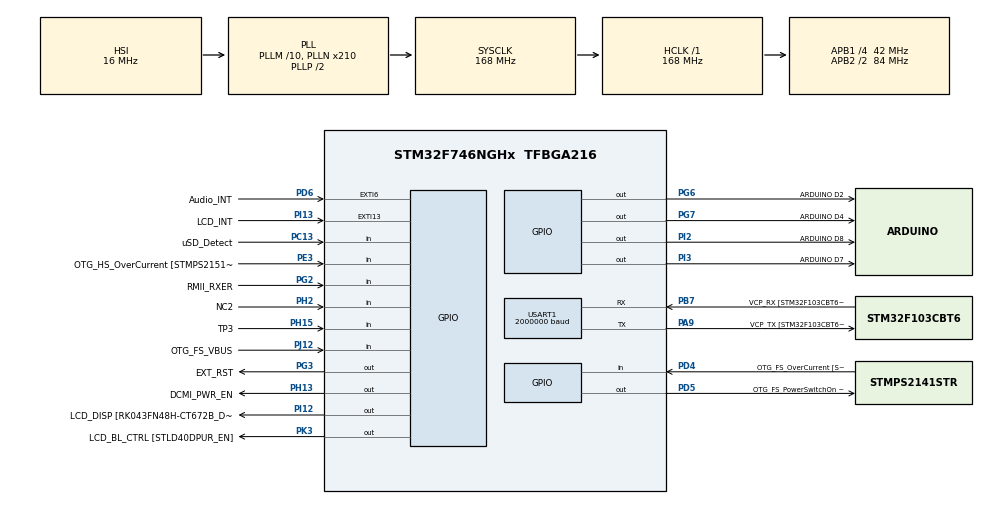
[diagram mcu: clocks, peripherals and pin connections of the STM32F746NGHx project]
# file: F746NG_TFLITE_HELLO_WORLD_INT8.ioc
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CORTEX_M7.CPU_DCache=Enabled
CORTEX_M7.CPU_ICache=Enabled
Mcu.Family=STM32F7
Mcu.Name=STM32F746NGHx
Mcu.Package=TFBGA216
NVIC.PriorityGroup=NVIC_PRIORITYGROUP_4
PA0/WKUP.GPIO_Label=ARDUINO A0
PA0/WKUP.GPIO_Mode=GPIO_MODE_ANALOG
PA0/WKUP.GPIO_PuPd=GPIO_NOPULL
PA0/WKUP.Signal=ADCx_IN0
PA1.GPIO_Label=RMII_REF_CLK [LAN8742A-CZ-TR_REFCLK0]
PA1.Signal=ETH_REF_CLK
PA10.GPIO_Label=OTG_FS_ID
PA10.Signal=USB_OTG_FS_ID
PA11.GPIO_Label=OTG_FS_N
PA11.Signal=USB_OTG_FS_DM
PA12.GPIO_Label=OTG_FS_P
PA12.Signal=USB_OTG_FS_DP
PA13.GPIO_Label=SWDIO
PA13.Signal=SYS_JTMS-SWDIO
PA14.GPIO_Label=SWCLK
PA14.Signal=SYS_JTCK-SWCLK
PA15.GPIO_Label=ARDUINO PWM/D9
PA15.GPIO_ModeDefaultPP=GPIO_MODE_AF_PP
PA15.GPIO_PuPd=GPIO_NOPULL
PA15.GPIO_Speed=GPIO_SPEED_FREQ_LOW
PA15.Signal=S_TIM2_CH1_ETR
PA2.GPIO_Label=RMII_MDIO [LAN8742A-CZ-TR_MDIO]
PA2.Signal=ETH_MDIO
PA3.GPIO_Label=ULPI_D0 [USB3320C-EZK_D0]
PA3.Signal=USB_OTG_HS_ULPI_D0
PA4.GPIO_Label=DCMI_HSYNC
PA4.Signal=DCMI_HSYNC
PA5.GPIO_Label=ULPI_CLK [USB3320C-EZK_CLKOUT]
PA5.Signal=USB_OTG_HS_ULPI_CK
PA6.Signal=DCMI_PIXCLK
PA7.GPIO_Label=RMII_CRS_DV [LAN8742A-CZ-TR_CRS_DV]
PA7.Signal=ETH_CRS_DV
PA8.GPIO_Label=ARDUINO PWM/D10
PA8.GPIO_ModeDefaultPP=GPIO_MODE_AF_PP
PA8.GPIO_PuPd=GPIO_NOPULL
PA8.GPIO_Speed=GPIO_SPEED_FREQ_LOW
PA8.Signal=S_TIM1_CH1
PA9.GPIO_Label=VCP_TX [STM32F103CBT6_PA3]
PA9.GPIO_Mode=GPIO_MODE_AF_PP
PA9.GPIO_PuPd=GPIO_NOPULL
PA9.GPIO_Speed=GPIO_SPEED_FREQ_LOW
PA9.Mode=Asynchronous
PA9.Signal=USART1_TX
PB0.GPIO_Label=ULPI_D1 [USB3320C-EZK_D1]
PB0.Signal=USB_OTG_HS_ULPI_D1
PB1.GPIO_Label=ULPI_D2 [USB3320C-EZK_D2]
PB1.Signal=USB_OTG_HS_ULPI_D2
PB10.GPIO_Label=ULPI_D3 [USB3320C-EZK_D3]
PB10.Signal=USB_OTG_HS_ULPI_D3
PB11.GPIO_Label=ULPI_D4 [USB3320C-EZK_D4]
PB11.Signal=USB_OTG_HS_ULPI_D4
PB12.GPIO_Label=ULPI_D5 [USB3320C-EZK_D5]
PB12.Signal=USB_OTG_HS_ULPI_D5
PB13.GPIO_Label=ULPI_D6 [USB3320C-EZK_D6]
PB13.Signal=USB_OTG_HS_ULPI_D6
PB14.GPIO_Label=ARDUINO MISO/D12
PB14.GPIO_Mode=GPIO_MODE_AF_PP
PB14.GPIO_PuPd=GPIO_NOPULL
PB14.GPIO_Speed=GPIO_SPEED_FREQ_LOW
PB14.Signal=SPI2_MISO
PB15.GPIO_Label=ARDUINO MOSI/PWM/D11
PB15.GPIO_Mode=GPIO_MODE_AF_PP
PB15.GPIO_PuPd=GPIO_NOPULL
PB15.GPIO_Speed=GPIO_SPEED_FREQ_LOW
PB15.Signal=SPI2_MOSI
PB2.Signal=QUADSPI_CLK
PB3.GPIO_Label=SWO
PB3.Signal=SYS_JTDO-SWO
PB4.GPIO_Label=ARDUINO PWM/D3
PB4.GPIO_ModeDefaultPP=GPIO_MODE_AF_PP
PB4.GPIO_PuPd=GPIO_NOPULL
PB4.GPIO_Speed=GPIO_SPEED_FREQ_LOW
PB4.Signal=S_TIM3_CH1
PB5.GPIO_Label=ULPI_D7 [USB3320C-EZK_D7]
PB5.Signal=USB_OTG_HS_ULPI_D7
PB6.GPIO_Label=QSPI_NCS [N25Q128A13EF840E_S]
PB6.Signal=QUADSPI_BK1_NCS
PB7.GPIO_Label=VCP_RX [STM32F103CBT6_PA2]
PB7.GPIO_Mode=GPIO_MODE_AF_PP
PB7.GPIO_PuPd=GPIO_NOPULL
PB7.GPIO_Speed=GPIO_SPEED_FREQ_LOW
PB7.Mode=Asynchronous
PB7.Signal=USART1_RX
PB8.GPIO_Label=ARDUINO SCL/D15
PB8.GPIO_Mode=GPIO_MODE_AF_OD
PB8.GPIO_PuPd=GPIO_NOPULL
PB8.GPIO_Speed=GPIO_SPEED_FREQ_LOW
PB8.Signal=I2C1_SCL
PB9.GPIO_Label=ARDUINO SDA/D14
PB9.GPIO_Mode=GPIO_MODE_AF_OD
PB9.GPIO_PuPd=GPIO_NOPULL
PB9.GPIO_Speed=GPIO_SPEED_FREQ_LOW
PB9.Signal=I2C1_SDA
PC0.GPIO_Label=ULPI_STP [USB3320C-EZK_STP]
PC0.Signal=USB_OTG_HS_ULPI_STP
PC1.GPIO_Label=RMII_MDC [LAN8742A-CZ-TR_MDC]
PC1.Signal=ETH_MDC
PC10.GPIO_Label=SDMMC_D2
PC10.Signal=SDMMC1_D2
PC11.GPIO_Label=SDMMC_D3
PC11.Signal=SDMMC1_D3
PC12.GPIO_Label=SDMMC_CK
PC12.Signal=SDMMC1_CK
PC13.GPIO_Label=uSD_Detect
PC13.Signal=GPIO_Input
PC14/OSC32_IN.GPIO_Label=RCC_OSC32_IN
PC14/OSC32_IN.Signal=RCC_OSC32_IN
PC15/OSC32_OUT.GPIO_Label=RCC_OSC32_OUT
PC15/OSC32_OUT.Signal=RCC_OSC32_OUT
PC2.GPIO_Label=ULPI_DIR [USB3320C-EZK_DIR]
PC2.Signal=USB_OTG_HS_ULPI_DIR
PC3.GPIO_Label=FMC_SDCKE0 [MT48LC4M32B2B5-6A_CKE]
PC3.Signal=FMC_SDCKE0
PC4.GPIO_Label=RMII_RXD0 [LAN8742A-CZ-TR_RXD0]
PC4.Signal=ETH_RXD0
PC5.GPIO_Label=RMII_RXD1 [LAN8742A-CZ-TR_RXD1]
PC5.Signal=ETH_RXD1
PC6.GPIO_Label=ARDUINO TX/D1
PC6.Signal=USART6_TX
PC7.GPIO_Label=ARDUINO RX/D0
PC7.Signal=USART6_RX
PC8.Signal=SDMMC1_D0
PC9.Signal=SDMMC1_D1
PD0.GPIO_Label=FMC_D2 [MT48LC4M32B2B5-6A_DQ2]
PD0.Signal=FMC_D2_DA2
PD1.GPIO_Label=FMC_D3 [MT48LC4M32B2B5-6A_DQ3]
PD1.Signal=FMC_D3_DA3
PD10.GPIO_Label=FMC_D15 [MT48LC4M32B2B5-6A_DQ15]
PD10.Signal=FMC_D15_DA15
PD11.GPIO_Label=QSPI_D0 [N25Q128A13EF840E_DQ0]
PD11.Signal=QUADSPI_BK1_IO0
PD12.GPIO_Label=QSPI_D1 [N25Q128A13EF840E_DQ1]
PD12.Signal=QUADSPI_BK1_IO1
PD13.GPIO_Label=QSPI_D3 [N25Q128A13EF840E_DQ3]
PD13.Signal=QUADSPI_BK1_IO3
PD14.GPIO_Label=FMC_D0 [MT48LC4M32B2B5-6A_DQ0]
PD14.Signal=FMC_D0_DA0
PD15.GPIO_Label=FMC_D1 [MT48LC4M32B2B5-6A_DQ1]
PD15.Signal=FMC_D1_DA1
PD2.GPIO_Label=SDMMC_D0
PD2.Signal=SDMMC1_CMD
PD3.GPIO_Label=DCMI_D5
PD3.Signal=DCMI_D5
PD4.GPIO_Label=OTG_FS_OverCurrent [STMPS2141STR_Fault]
PD4.Signal=GPIO_Input
PD5.GPIO_Label=OTG_FS_PowerSwitchOn [STMPS2141STR_EN]
PD5.PinState=GPIO_PIN_SET
PD5.Signal=GPIO_Output
PD6.GPIO_Label=Audio_INT
PD6.GPIO_ModeDefaultEXTI=GPIO_MODE_EVT_RISING
PD6.Signal=GPXTI6
PD7.GPIO_Label=SPDIF_RX0 [74LVC1G04SE_4]
PD7.Signal=SPDIFRX_IN0
PD8.GPIO_Label=FMC_D13 [MT48LC4M32B2B5-6A_DQ13]
PD8.Signal=FMC_D13_DA13
PD9.GPIO_Label=FMC_D14 [MT48LC4M32B2B5-6A_DQ14]
PD9.Signal=FMC_D14_DA14
PE0.GPIO_Label=FMC_NBL0 [MT48LC4M32B2B5-6A_DQM0]
PE0.Signal=FMC_NBL0
PE1.GPIO_Label=FMC_NBL1 [MT48LC4M32B2B5-6A_DQM1]
PE1.Signal=FMC_NBL1
PE10.GPIO_Label=FMC_D7 [MT48LC4M32B2B5-6A_DQ7]
PE10.Signal=FMC_D7_DA7
PE11.GPIO_Label=FMC_D8 [MT48LC4M32B2B5-6A_DQ8]
PE11.Signal=FMC_D8_DA8
PE12.GPIO_Label=FMC_D9 [MT48LC4M32B2B5-6A_DQ9]
PE12.Signal=FMC_D9_DA9
PE13.GPIO_Label=FMC_D10 [MT48LC4M32B2B5-6A_DQ10]
PE13.Signal=FMC_D10_DA10
PE14.GPIO_Label=FMC_D11 [MT48LC4M32B2B5-6A_DQ11]
PE14.Signal=FMC_D11_DA11
PE15.GPIO_Label=FMC_D12 [MT48LC4M32B2B5-6A_DQ12]
PE15.Signal=FMC_D12_DA12
PE2.GPIO_Label=QSPI_D2 [N25Q128A13EF840E_DQ2]
PE2.Signal=QUADSPI_BK1_IO2
PE3.GPIO_Label=OTG_HS_OverCurrent [STMPS2151STR_FAULT]
PE3.Signal=GPIO_Input
PE4.GPIO_Label=LCD_B0 [RK043FN48H-CT672B_B0]
PE4.Signal=LTDC_B0
PE5.GPIO_Label=DCMI_D6
PE5.Signal=DCMI_D6
PE6.GPIO_Label=DCMI_D7
PE6.Signal=DCMI_D7
PE7.GPIO_Label=FMC_D4 [MT48LC4M32B2B5-6A_DQ4]
PE7.Signal=FMC_D4_DA4
PE8.GPIO_Label=FMC_D5 [MT48LC4M32B2B5-6A_DQ5]
PE8.Signal=FMC_D5_DA5
PE9.GPIO_Label=FMC_D6 [MT48LC4M32B2B5-6A_DQ6]
PE9.Signal=FMC_D6_DA6
PF0.GPIO_Label=FMC_A0 [MT48LC4M32B2B5-6A_A0]
PF0.Signal=FMC_A0
PF1.GPIO_Label=FMC_A1 [MT48LC4M32B2B5-6A_A1]
PF1.Signal=FMC_A1
PF10.GPIO_Label=ARDUINO A1
PF10.GPIO_Mode=GPIO_MODE_ANALOG
PF10.GPIO_PuPd=GPIO_NOPULL
PF10.Signal=ADC3_IN8
PF11.GPIO_Label=FMC_SDNRAS [MT48LC4M32B2B5-6A_RAS]
PF11.Signal=FMC_SDNRAS
PF12.GPIO_Label=FMC_A6 [MT48LC4M32B2B5-6A_A6]
PF12.Signal=FMC_A6
PF13.GPIO_Label=FMC_A7 [MT48LC4M32B2B5-6A_A7]
PF13.Signal=FMC_A7
PF14.GPIO_Label=FMC_A8 [MT48LC4M32B2B5-6A_A8]
PF14.Signal=FMC_A8
PF15.GPIO_Label=FMC_A9 [MT48LC4M32B2B5-6A_A9]
PF15.Signal=FMC_A9
PF2.GPIO_Label=FMC_A2 [MT48LC4M32B2B5-6A_A2]
PF2.Signal=FMC_A2
PF3.GPIO_Label=FMC_A3 [MT48LC4M32B2B5-6A_A3]
PF3.Signal=FMC_A3
PF4.GPIO_Label=FMC_A4 [MT48LC4M32B2B5-6A_A4]
PF4.Signal=FMC_A4
PF5.GPIO_Label=FMC_A5 [MT48LC4M32B2B5-6A_A5]
PF5.Signal=FMC_A5
PF6.GPIO_Label=ARDUINO A5
PF6.GPIO_Mode=GPIO_MODE_ANALOG
PF6.GPIO_PuPd=GPIO_NOPULL
PF6.Signal=ADC3_IN4
PF7.GPIO_Label=ARDUINO A4
PF7.GPIO_Mode=GPIO_MODE_ANALOG
PF7.GPIO_PuPd=GPIO_NOPULL
PF7.Signal=ADC3_IN5
PF8.GPIO_Label=ARDUINO A3
PF8.GPIO_Mode=GPIO_MODE_ANALOG
PF8.GPIO_PuPd=GPIO_NOPULL
PF8.Signal=ADC3_IN6
PF9.GPIO_Label=ARDUINO A2
PF9.GPIO_Mode=GPIO_MODE_ANALOG
PF9.GPIO_PuPd=GPIO_NOPULL
PF9.Signal=ADC3_IN7
PG0.GPIO_Label=FMC_A10 [MT48LC4M32B2B5-6A_A10]
PG0.Signal=FMC_A10
PG1.GPIO_Label=FMC_A11 [MT48LC4M32B2B5-6A_A11]
PG1.Signal=FMC_A11
PG10.GPIO_Label=SAI2_SDB [WM8994ECS/R_ADCDAT1]
PG10.Signal=SAI2_SD_B
PG11.GPIO_Label=RMII_TX_EN [LAN8742A-CZ-TR_TXEN]
PG11.Signal=ETH_TX_EN
PG12.GPIO_Label=LCD_B4 [RK043FN48H-CT672B_B4]
PG12.Signal=LTDC_B4
PG13.GPIO_Label=RMII_TXD0 [LAN8742A-CZ-TR_TXD0]
PG13.Signal=ETH_TXD0
PG14.GPIO_Label=RMII_TXD1 [LAN8742A-CZ-TR_TXD1]
PG14.Signal=ETH_TXD1
PG15.GPIO_Label=FMC_SDNCAS [MT48LC4M32B2B5-6A_CAS]
PG15.Signal=FMC_SDNCAS
PG2.GPIO_Label=RMII_RXER
PG2.Signal=GPIO_Input
PG3.GPIO_Label=EXT_RST
PG3.Signal=GPIO_Output
PG4.GPIO_Label=FMC_BA0 [MT48LC4M32B2B5-6A_BA0]
PG4.Signal=FMC_A14_BA0
PG5.GPIO_Label=FMC_BA1 [MT48LC4M32B2B5-6A_BA1]
PG5.Signal=FMC_A15_BA1
PG6.GPIO_Label=ARDUINO D2
PG6.Signal=GPIO_Output
PG7.GPIO_Label=ARDUINO D4
PG7.Signal=GPIO_Output
PG8.GPIO_Label=FMC_SDCLK [MT48LC4M32B2B5-6A_CLK]
PG8.Signal=FMC_SDCLK
PG9.GPIO_Label=DCMI_VSYNC
PG9.Signal=DCMI_VSYNC
PH0/OSC_IN.GPIO_Label=OSC_25M [NZ2520SB-25.00M_OUT]
PH0/OSC_IN.Signal=RCC_OSC_IN
PH1/OSC_OUT.Signal=RCC_OSC_OUT
PH10.GPIO_Label=DCMI_D1
PH10.Signal=DCMI_D1
PH11.GPIO_Label=DCMI_D2
PH11.Signal=DCMI_D2
PH12.GPIO_Label=DCMI_D3
PH12.Signal=DCMI_D3
PH13.GPIO_Label=DCMI_PWR_EN
PH13.Signal=GPIO_Output
PH14.GPIO_Label=DCMI_D4
PH14.Signal=DCMI_D4
PH15.GPIO_Label=TP3
PH15.Signal=GPIO_Input
PH2.GPIO_Label=NC2
PH2.Signal=GPIO_Input
PH3.GPIO_Label=FMC_SDNE0 [MT48LC4M32B2B5-6A_CS]
PH3.Signal=FMC_SDNE0
PH4.GPIO_Label=ULPI_NXT [USB3320C-EZK_NXT]
PH4.Signal=USB_OTG_HS_ULPI_NXT
PH5.GPIO_Label=FMC_SDNME [MT48LC4M32B2B5-6A_WE]
PH5.Signal=FMC_SDNWE
PH6.GPIO_Label=ARDUINO PWM/D6
PH6.Signal=S_TIM12_CH1
PH7.GPIO_Label=LCD_SCL [RK043FN48H-CT672B_SCL]
PH7.Signal=I2C3_SCL
PH8.GPIO_Label=LCD_SDA [RK043FN48H-CT672B_SDA]
PH8.Signal=I2C3_SDA
PH9.GPIO_Label=DCMI_D0
PH9.Signal=DCMI_D0
PI0.GPIO_Label=ARDUINO PWM/CS/D5
PI0.GPIO_ModeDefaultPP=GPIO_MODE_AF_PP
PI0.GPIO_PuPd=GPIO_NOPULL
PI0.GPIO_Speed=GPIO_SPEED_FREQ_LOW
PI0.Signal=S_TIM5_CH4
PI1.GPIO_Label=ARDUINO SCK/D13
PI1.GPIO_Mode=GPIO_MODE_AF_PP
PI1.GPIO_PuPd=GPIO_NOPULL
PI1.GPIO_Speed=GPIO_SPEED_FREQ_LOW
PI1.Signal=SPI2_SCK
PI10.GPIO_Label=LCD_HSYNC [RK043FN48H-CT672B_HSYNC]
PI10.Signal=LTDC_HSYNC
PI12.GPIO_Label=LCD_DISP [RK043FN48H-CT672B_DISP] 
PI12.Signal=GPIO_Output
PI13.GPIO_Label=LCD_INT
PI13.GPIO_ModeDefaultEXTI=GPIO_MODE_EVT_RISING
PI13.Signal=GPXTI13
PI14.GPIO_Label=LCD_CLK [RK043FN48H-CT672B_CLK]
PI14.Signal=LTDC_CLK
PI15.GPIO_Label=LCD_R0 [RK043FN48H-CT672B_R0]
PI15.Signal=LTDC_R0
PI2.GPIO_Label=ARDUINO D8
PI2.Signal=GPIO_Output
PI3.GPIO_Label=ARDUINO D7
PI3.Signal=GPIO_Output
PI4.GPIO_Label=SAI2_MCLKA [WM8994ECS/R_MCLK1]
PI4.Signal=SAI2_MCLK_A
PI5.GPIO_Label=SAI2_SCKA [WM8994ECS/R_BCLK1]
PI5.Signal=SAI2_SCK_A
PI6.GPIO_Label=SAI2_SDA [WM8994ECS/R_DACDAT1]
PI6.Signal=SAI2_SD_A
PI7.GPIO_Label=SAI2_FSA [WM8994ECS/R_LRCLK1]
PI7.Signal=SAI2_FS_A
PI8.GPIO_Label=NC1 [TP2]
PI8.Signal=RTC_TS
PI9.GPIO_Label=LCD_VSYNC [RK043FN48H-CT672B_VSYNC]
PI9.Signal=LTDC_VSYNC
PJ0.GPIO_Label=LCD_R1 [RK043FN48H-CT672B_R1]
PJ0.Signal=LTDC_R1
PJ1.GPIO_Label=LCD_R2 [RK043FN48H-CT672B_R2]
PJ1.Signal=LTDC_R2
PJ10.GPIO_Label=LCD_G3 [RK043FN48H-CT672B_G3]
PJ10.Signal=LTDC_G3
PJ11.GPIO_Label=LCD_G4 [RK043FN48H-CT672B_G4]
PJ11.Signal=LTDC_G4
PJ12.GPIO_Label=OTG_FS_VBUS
PJ12.Signal=GPIO_Input
PJ13.GPIO_Label=LCD_B1 [RK043FN48H-CT672B_B1]
PJ13.Signal=LTDC_B1
PJ14.GPIO_Label=LCD_B2 [RK043FN48H-CT672B_B2]
PJ14.Signal=LTDC_B2
PJ15.GPIO_Label=LCD_B3 [RK043FN48H-CT672B_B3]
PJ15.Signal=LTDC_B3
PJ2.GPIO_Label=LCD_R3 [RK043FN48H-CT672B_R3]
PJ2.Signal=LTDC_R3
PJ3.GPIO_Label=LCD_R4 [RK043FN48H-CT672B_R4]
PJ3.Signal=LTDC_R4
PJ4.GPIO_Label=LCD_R5 [RK043FN48H-CT672B_R5]
PJ4.Signal=LTDC_R5
PJ5.GPIO_Label=LCD_R6 [RK043FN48H-CT672B_R6]
PJ5.Signal=LTDC_R6
PJ6.GPIO_Label=LCD_R7 [RK043FN48H-CT672B_R7]
PJ6.Signal=LTDC_R7
PJ7.GPIO_Label=LCD_G0 [RK043FN48H-CT672B_G0]
PJ7.Signal=LTDC_G0
PJ8.GPIO_Label=LCD_G1 [RK043FN48H-CT672B_G1]
PJ8.Signal=LTDC_G1
PJ9.GPIO_Label=LCD_G2 [RK043FN48H-CT672B_G2]
PJ9.Signal=LTDC_G2
PK0.GPIO_Label=LCD_G5 [RK043FN48H-CT672B_G5]
PK0.Signal=LTDC_G5
PK1.GPIO_Label=LCD_G6 [RK043FN48H-CT672B_G6]
PK1.Signal=LTDC_G6
PK2.GPIO_Label=LCD_G7 [RK043FN48H-CT672B_G7]
PK2.Signal=LTDC_G7
PK3.GPIO_Label=LCD_BL_CTRL [STLD40DPUR_EN]
PK3.Signal=GPIO_Output
PK4.GPIO_Label=LCD_B5 [RK043FN48H-CT672B_B5]
PK4.Signal=LTDC_B5
PK5.GPIO_Label=LCD_B6 [RK043FN48H-CT672B_B6]
PK5.Signal=LTDC_B6
PK6.GPIO_Label=LCD_B7 [RK043FN48H-CT672B_B7]
PK6.Signal=LTDC_B7
PK7.GPIO_Label=LCD_DE [RK043FN48H-CT672B_DE]
PK7.Signal=LTDC_DE
ProjectManager.HeapSize=0x200
ProjectManager.StackSize=0x400
ProjectManager.TargetToolchain=STM32CubeIDE
RCC.AHBFreq_Value=168000000
RCC.APB1CLKDivider=RCC_HCLK_DIV4
RCC.APB1Freq_Value=42000000
RCC.APB1TimFreq_Value=84000000
RCC.APB2CLKDivider=RCC_HCLK_DIV2
RCC.APB2Freq_Value=84000000
RCC.APB2TimFreq_Value=168000000
RCC.CortexFreq_Value=168000000
RCC.HCLKFreq_Value=168000000
RCC.HSE_VALUE=25000000
RCC.HSI_VALUE=16000000
RCC.LSE_VALUE=32768
RCC.PLLM=10
RCC.PLLN=210
RCC.PLLQ=7
RCC.PLLSourceVirtual=RCC_PLLSOURCE_HSI
RCC.SYSCLKFreq_VALUE=168000000
RCC.SYSCLKSource=RCC_SYSCLKSOURCE_PLLCLK
RCC.USBFreq_Value=48000000
RCC.VCOOutputFreq_Value=336000000
SH.ADCx_IN0.0=ADC3_IN0
SH.FMC_A0.0=FMC_A0
SH.FMC_A1.0=FMC_A1
SH.FMC_A10.0=FMC_A10
SH.FMC_A11.0=FMC_A11
SH.FMC_A14_BA0.0=FMC_BA0
SH.FMC_A15_BA1.0=FMC_BA1
SH.FMC_A2.0=FMC_A2
SH.FMC_A3.0=FMC_A3
SH.FMC_A4.0=FMC_A4
SH.FMC_A5.0=FMC_A5
SH.FMC_A6.0=FMC_A6
SH.FMC_A7.0=FMC_A7
SH.FMC_A8.0=FMC_A8
SH.FMC_A9.0=FMC_A9
SH.FMC_D0_DA0.0=FMC_D0
SH.FMC_D10_DA10.0=FMC_D10
SH.FMC_D11_DA11.0=FMC_D11
SH.FMC_D12_DA12.0=FMC_D12
SH.FMC_D13_DA13.0=FMC_D13
SH.FMC_D14_DA14.0=FMC_D14
SH.FMC_D15_DA15.0=FMC_D15
SH.FMC_D1_DA1.0=FMC_D1
SH.FMC_D2_DA2.0=FMC_D2
SH.FMC_D3_DA3.0=FMC_D3
SH.FMC_D4_DA4.0=FMC_D4
SH.FMC_D5_DA5.0=FMC_D5
SH.FMC_D6_DA6.0=FMC_D6
SH.FMC_D7_DA7.0=FMC_D7
SH.FMC_D8_DA8.0=FMC_D8
SH.FMC_D9_DA9.0=FMC_D9
SH.FMC_NBL0.0=FMC_NBL0
SH.FMC_NBL1.0=FMC_NBL1
SH.FMC_SDCLK.0=FMC_SDCLK
SH.FMC_SDNCAS.0=FMC_SDNCAS
SH.FMC_SDNRAS.0=FMC_SDNRAS
SH.FMC_SDNWE.0=FMC_SDNWE
SH.S_TIM12_CH1.0=TIM12_CH1
SH.S_TIM1_CH1.0=TIM1_CH1
SH.S_TIM2_CH1_ETR.0=TIM2_CH1
SH.S_TIM3_CH1.0=TIM3_CH1
SH.S_TIM5_CH4.0=TIM5_CH4
USART1.BaudRate=2000000
USART1.VirtualMode-Asynchronous=VM_ASYNC
VP_RNG_VS_RNG.Mode=RNG_Activate
board=STM32F746G-DISCO

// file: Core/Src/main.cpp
/* USER CODE BEGIN Header */
/**
  ******************************************************************************
  * @file           : main.c
  * @brief          : Main program body
  ******************************************************************************
  * @attention
  *
  * Copyright (c) 2023 STMicroelectronics.
  * All rights reserved.
  *
  * This software is licensed under terms that can be found in the LICENSE file
  * in the root directory of this software component.
  * If no LICENSE file comes with this software, it is provided AS-IS.
  *
  ******************************************************************************
  */
/* USER CODE END Header */
#include "main.h"

/* USER CODE BEGIN Includes */
#include "lib_model.h"
#include "lib_rng.h"
#include "lib_serial.h"
#include "models/hello_world_float_model_data.h"
//#include "models/hello_world_int8_model_data.h"

/* USER CODE END Includes */

RNG_HandleTypeDef hrng;

UART_HandleTypeDef huart1;

void SystemClock_Config(void);
static void MX_GPIO_Init(void);
static void MX_USART1_UART_Init(void);
static void MX_RNG_Init(void);

/* USER CODE BEGIN 0 */
#define INPUT_PC		  1
#define INPUT_MCU		  2
#define INPUT			  INPUT_MCU

#define SIZE_INPUT 		1
#define SIZE_OUTPUT 	1

/*
 * Project -> Properties
 * 1) Include Paths
 * 2) Source Folder
 * 3) TFLITE Symbol
 *
 * 1) RNG
 * 2) UART
 * 3) main.cpp
 */

constexpr int kTensorArenaSize = 128 * 1024;
alignas(16) uint8_t tensor_arena[kTensorArenaSize];
TfLiteTensor* input = nullptr;
TfLiteTensor* output = nullptr;

float in, out;
/* USER CODE END 0 */

int main(void)
{

  /* Enable I-Cache---------------------------------------------------------*/
  SCB_EnableICache();

  /* Enable D-Cache---------------------------------------------------------*/
  SCB_EnableDCache();

  /* MCU Configuration--------------------------------------------------------*/

  /* Reset of all peripherals, Initializes the Flash interface and the Systick. */
  HAL_Init();

  /* Configure the system clock */
  SystemClock_Config();

  /* Initialize all configured peripherals */
  MX_GPIO_Init();
  MX_USART1_UART_Init();
  MX_RNG_Init();
  /* USER CODE BEGIN 2 */
  LIB_MODEL_Init(g_hello_world_float_model_data, &input, tensor_arena, kTensorArenaSize);

  /* USER CODE END 2 */

  /* Infinite loop */
  while (1)
  {

    /* USER CODE BEGIN 3 */
#if (INPUT == INPUT_PC)
  LIB_SERIAL_Receive(in, SIZE_INPUT, TYPE_F32);
#elif (INPUT == INPUT_MCU)
  for (uint32_t i = 0; i < SIZE_INPUT; ++i)
    in = ((float)(LIB_RNG_GetRandomNumber() % 1000) / 1000) * 3.1415f;
  LIB_SERIAL_Transmit((void*)&in, SIZE_INPUT, TYPE_F32);

#endif
  input->data.f[0] = in;
  //Run inference
  LIB_MODEL_Run(&output);
  // Get output here
  out = output->data.f[0];
  LIB_SERIAL_Transmit((void*)&out, SIZE_OUTPUT, TYPE_F32);

  HAL_Delay(1000);
  }
  /* USER CODE END 3 */
}

void SystemClock_Config(void)
{
  RCC_OscInitTypeDef RCC_OscInitStruct = {0};
  RCC_ClkInitTypeDef RCC_ClkInitStruct = {0};

  /** Configure the main internal regulator output voltage
  */
  __HAL_RCC_PWR_CLK_ENABLE();
  __HAL_PWR_VOLTAGESCALING_CONFIG(PWR_REGULATOR_VOLTAGE_SCALE2);
  /** Initializes the RCC Oscillators according to the specified parameters
  * in the RCC_OscInitTypeDef structure.
  */
  RCC_OscInitStruct.OscillatorType = RCC_OSCILLATORTYPE_HSI;
  RCC_OscInitStruct.HSIState = RCC_HSI_ON;
  RCC_OscInitStruct.HSICalibrationValue = RCC_HSICALIBRATION_DEFAULT;
  RCC_OscInitStruct.PLL.PLLState = RCC_PLL_ON;
  RCC_OscInitStruct.PLL.PLLSource = RCC_PLLSOURCE_HSI;
  RCC_OscInitStruct.PLL.PLLM = 10;
  RCC_OscInitStruct.PLL.PLLN = 210;
  RCC_OscInitStruct.PLL.PLLP = RCC_PLLP_DIV2;
  RCC_OscInitStruct.PLL.PLLQ = 7;
  if (HAL_RCC_OscConfig(&RCC_OscInitStruct) != HAL_OK)
  {
    Error_Handler();
  }
  /** Initializes the CPU, AHB and APB buses clocks
  */
  RCC_ClkInitStruct.ClockType = RCC_CLOCKTYPE_HCLK|RCC_CLOCKTYPE_SYSCLK
                              |RCC_CLOCKTYPE_PCLK1|RCC_CLOCKTYPE_PCLK2;
  RCC_ClkInitStruct.SYSCLKSource = RCC_SYSCLKSOURCE_PLLCLK;
  RCC_ClkInitStruct.AHBCLKDivider = RCC_SYSCLK_DIV1;
  RCC_ClkInitStruct.APB1CLKDivider = RCC_HCLK_DIV4;
  RCC_ClkInitStruct.APB2CLKDivider = RCC_HCLK_DIV2;

  if (HAL_RCC_ClockConfig(&RCC_ClkInitStruct, FLASH_LATENCY_5) != HAL_OK)
  {
    Error_Handler();
  }
}

static void MX_RNG_Init(void)
{

  hrng.Instance = RNG;
  if (HAL_RNG_Init(&hrng) != HAL_OK)
  {
    Error_Handler();
  }

}

static void MX_USART1_UART_Init(void)
{

  huart1.Instance = USART1;
  huart1.Init.BaudRate = 2000000;
  huart1.Init.WordLength = UART_WORDLENGTH_8B;
  huart1.Init.StopBits = UART_STOPBITS_1;
  huart1.Init.Parity = UART_PARITY_NONE;
  huart1.Init.Mode = UART_MODE_TX_RX;
  huart1.Init.HwFlowCtl = UART_HWCONTROL_NONE;
  huart1.Init.OverSampling = UART_OVERSAMPLING_16;
  huart1.Init.OneBitSampling = UART_ONE_BIT_SAMPLE_DISABLE;
  huart1.AdvancedInit.AdvFeatureInit = UART_ADVFEATURE_NO_INIT;
  if (HAL_UART_Init(&huart1) != HAL_OK)
  {
    Error_Handler();
  }

}

static void MX_GPIO_Init(void)
{
  GPIO_InitTypeDef GPIO_InitStruct = {0};

  /* GPIO Ports Clock Enable */
  __HAL_RCC_GPIOE_CLK_ENABLE();
  __HAL_RCC_GPIOG_CLK_ENABLE();
  __HAL_RCC_GPIOB_CLK_ENABLE();
  __HAL_RCC_GPIOD_CLK_ENABLE();
  __HAL_RCC_GPIOC_CLK_ENABLE();
  __HAL_RCC_GPIOA_CLK_ENABLE();
  __HAL_RCC_GPIOJ_CLK_ENABLE();
  __HAL_RCC_GPIOI_CLK_ENABLE();
  __HAL_RCC_GPIOK_CLK_ENABLE();
  __HAL_RCC_GPIOF_CLK_ENABLE();
  __HAL_RCC_GPIOH_CLK_ENABLE();

  /*Configure GPIO pin Output Level */
  HAL_GPIO_WritePin(OTG_FS_PowerSwitchOn_GPIO_Port, OTG_FS_PowerSwitchOn_Pin, GPIO_PIN_SET);

  /*Configure GPIO pin Output Level */
  HAL_GPIO_WritePin(GPIOI, ARDUINO_D7_Pin|ARDUINO_D8_Pin|LCD_DISP_Pin, GPIO_PIN_RESET);

  /*Configure GPIO pin Output Level */
  HAL_GPIO_WritePin(LCD_BL_CTRL_GPIO_Port, LCD_BL_CTRL_Pin, GPIO_PIN_RESET);

  /*Configure GPIO pin Output Level */
  HAL_GPIO_WritePin(DCMI_PWR_EN_GPIO_Port, DCMI_PWR_EN_Pin, GPIO_PIN_RESET);

  /*Configure GPIO pin Output Level */
  HAL_GPIO_WritePin(GPIOG, ARDUINO_D4_Pin|ARDUINO_D2_Pin|EXT_RST_Pin, GPIO_PIN_RESET);

  /*Configure GPIO pin : LCD_B0_Pin */
  GPIO_InitStruct.Pin = LCD_B0_Pin;
  GPIO_InitStruct.Mode = GPIO_MODE_AF_PP;
  GPIO_InitStruct.Pull = GPIO_NOPULL;
  GPIO_InitStruct.Speed = GPIO_SPEED_FREQ_LOW;
  GPIO_InitStruct.Alternate = GPIO_AF14_LTDC;
  HAL_GPIO_Init(LCD_B0_GPIO_Port, &GPIO_InitStruct);

  /*Configure GPIO pin : OTG_HS_OverCurrent_Pin */
  GPIO_InitStruct.Pin = OTG_HS_OverCurrent_Pin;
  GPIO_InitStruct.Mode = GPIO_MODE_INPUT;
  GPIO_InitStruct.Pull = GPIO_NOPULL;
  HAL_GPIO_Init(OTG_HS_OverCurrent_GPIO_Port, &GPIO_InitStruct);

  /*Configure GPIO pin : QSPI_D2_Pin */
  GPIO_InitStruct.Pin = QSPI_D2_Pin;
  GPIO_InitStruct.Mode = GPIO_MODE_AF_PP;
  GPIO_InitStruct.Pull = GPIO_NOPULL;
  GPIO_InitStruct.Speed = GPIO_SPEED_FREQ_VERY_HIGH;
  GPIO_InitStruct.Alternate = GPIO_AF9_QUADSPI;
  HAL_GPIO_Init(QSPI_D2_GPIO_Port, &GPIO_InitStruct);

  /*Configure GPIO pins : RMII_TXD1_Pin RMII_TXD0_Pin RMII_TX_EN_Pin */
  GPIO_InitStruct.Pin = RMII_TXD1_Pin|RMII_TXD0_Pin|RMII_TX_EN_Pin;
  GPIO_InitStruct.Mode = GPIO_MODE_AF_PP;
  GPIO_InitStruct.Pull = GPIO_NOPULL;
  GPIO_InitStruct.Speed = GPIO_SPEED_FREQ_VERY_HIGH;
  GPIO_InitStruct.Alternate = GPIO_AF11_ETH;
  HAL_GPIO_Init(GPIOG, &GPIO_InitStruct);

  /*Configure GPIO pins : FMC_NBL1_Pin FMC_NBL0_Pin FMC_D5_Pin FMC_D6_Pin
                           FMC_D8_Pin FMC_D11_Pin FMC_D4_Pin FMC_D7_Pin
                           FMC_D9_Pin FMC_D12_Pin FMC_D10_Pin */
  GPIO_InitStruct.Pin = FMC_NBL1_Pin|FMC_NBL0_Pin|FMC_D5_Pin|FMC_D6_Pin
                          |FMC_D8_Pin|FMC_D11_Pin|FMC_D4_Pin|FMC_D7_Pin
                          |FMC_D9_Pin|FMC_D12_Pin|FMC_D10_Pin;
  GPIO_InitStruct.Mode = GPIO_MODE_AF_PP;
  GPIO_InitStruct.Pull = GPIO_NOPULL;
  GPIO_InitStruct.Speed = GPIO_SPEED_FREQ_VERY_HIGH;
  GPIO_InitStruct.Alternate = GPIO_AF12_FMC;
  HAL_GPIO_Init(GPIOE, &GPIO_InitStruct);

  /*Configure GPIO pins : ARDUINO_SCL_D15_Pin ARDUINO_SDA_D14_Pin */
  GPIO_InitStruct.Pin = ARDUINO_SCL_D15_Pin|ARDUINO_SDA_D14_Pin;
  GPIO_InitStruct.Mode = GPIO_MODE_AF_OD;
  GPIO_InitStruct.Pull = GPIO_NOPULL;
  GPIO_InitStruct.Speed = GPIO_SPEED_FREQ_LOW;
  GPIO_InitStruct.Alternate = GPIO_AF4_I2C1;
  HAL_GPIO_Init(GPIOB, &GPIO_InitStruct);

  /*Configure GPIO pins : ULPI_D7_Pin ULPI_D6_Pin ULPI_D5_Pin ULPI_D3_Pin
                           ULPI_D2_Pin ULPI_D1_Pin ULPI_D4_Pin */
  GPIO_InitStruct.Pin = ULPI_D7_Pin|ULPI_D6_Pin|ULPI_D5_Pin|ULPI_D3_Pin
                          |ULPI_D2_Pin|ULPI_D1_Pin|ULPI_D4_Pin;
  GPIO_InitStruct.Mode = GPIO_MODE_AF_PP;
  GPIO_InitStruct.Pull = GPIO_NOPULL;
  GPIO_InitStruct.Speed = GPIO_SPEED_FREQ_VERY_HIGH;
  GPIO_InitStruct.Alternate = GPIO_AF10_OTG_HS;
  HAL_GPIO_Init(GPIOB, &GPIO_InitStruct);

  /*Configure GPIO pin : ARDUINO_PWM_D3_Pin */
  GPIO_InitStruct.Pin = ARDUINO_PWM_D3_Pin;
  GPIO_InitStruct.Mode = GPIO_MODE_AF_PP;
  GPIO_InitStruct.Pull = GPIO_NOPULL;
  GPIO_InitStruct.Speed = GPIO_SPEED_FREQ_LOW;
  GPIO_InitStruct.Alternate = GPIO_AF2_TIM3;
  HAL_GPIO_Init(ARDUINO_PWM_D3_GPIO_Port, &GPIO_InitStruct);

  /*Configure GPIO pin : SPDIF_RX0_Pin */
  GPIO_InitStruct.Pin = SPDIF_RX0_Pin;
  GPIO_InitStruct.Mode = GPIO_MODE_AF_PP;
  GPIO_InitStruct.Pull = GPIO_NOPULL;
  GPIO_InitStruct.Speed = GPIO_SPEED_FREQ_LOW;
  GPIO_InitStruct.Alternate = GPIO_AF8_SPDIFRX;
  HAL_GPIO_Init(SPDIF_RX0_GPIO_Port, &GPIO_InitStruct);

  /*Configure GPIO pins : SDMMC_CK_Pin SDMMC_D3_Pin SDMMC_D2_Pin PC9
                           PC8 */
  GPIO_InitStruct.Pin = SDMMC_CK_Pin|SDMMC_D3_Pin|SDMMC_D2_Pin|GPIO_PIN_9
                          |GPIO_PIN_8;
  GPIO_InitStruct.Mode = GPIO_MODE_AF_PP;
  GPIO_InitStruct.Pull = GPIO_NOPULL;
  GPIO_InitStruct.Speed = GPIO_SPEED_FREQ_VERY_HIGH;
  GPIO_InitStruct.Alternate = GPIO_AF12_SDMMC1;
  HAL_GPIO_Init(GPIOC, &GPIO_InitStruct);

  /*Configure GPIO pin : ARDUINO_PWM_D9_Pin */
  GPIO_InitStruct.Pin = ARDUINO_PWM_D9_Pin;
  GPIO_InitStruct.Mode = GPIO_MODE_AF_PP;
  GPIO_InitStruct.Pull = GPIO_NOPULL;
  GPIO_InitStruct.Speed = GPIO_SPEED_FREQ_LOW;
  GPIO_InitStruct.Alternate = GPIO_AF1_TIM2;
  HAL_GPIO_Init(ARDUINO_PWM_D9_GPIO_Port, &GPIO_InitStruct);

  /*Configure GPIO pins : DCMI_D6_Pin DCMI_D7_Pin */
  GPIO_InitStruct.Pin = DCMI_D6_Pin|DCMI_D7_Pin;
  GPIO_InitStruct.Mode = GPIO_MODE_AF_PP;
  GPIO_InitStruct.Pull = GPIO_NOPULL;
  GPIO_InitStruct.Speed = GPIO_SPEED_FREQ_LOW;
  GPIO_InitStruct.Alternate = GPIO_AF13_DCMI;
  HAL_GPIO_Init(GPIOE, &GPIO_InitStruct);

  /*Configure GPIO pin : QSPI_NCS_Pin */
  GPIO_InitStruct.Pin = QSPI_NCS_Pin;
  GPIO_InitStruct.Mode = GPIO_MODE_AF_PP;
  GPIO_InitStruct.Pull = GPIO_NOPULL;
  GPIO_InitStruct.Speed = GPIO_SPEED_FREQ_VERY_HIGH;
  GPIO_InitStruct.Alternate = GPIO_AF10_QUADSPI;
  HAL_GPIO_Init(QSPI_NCS_GPIO_Port, &GPIO_InitStruct);

  /*Configure GPIO pins : FMC_SDNCAS_Pin FMC_SDCLK_Pin FMC_A11_Pin FMC_A10_Pin
                           FMC_BA1_Pin FMC_BA0_Pin */
  GPIO_InitStruct.Pin = FMC_SDNCAS_Pin|FMC_SDCLK_Pin|FMC_A11_Pin|FMC_A10_Pin
                          |FMC_BA1_Pin|FMC_BA0_Pin;
  GPIO_InitStruct.Mode = GPIO_MODE_AF_PP;
  GPIO_InitStruct.Pull = GPIO_NOPULL;
  GPIO_InitStruct.Speed = GPIO_SPEED_FREQ_VERY_HIGH;
  GPIO_InitStruct.Alternate = GPIO_AF12_FMC;
  HAL_GPIO_Init(GPIOG, &GPIO_InitStruct);

  /*Configure GPIO pins : LCD_B1_Pin LCD_B2_Pin LCD_B3_Pin LCD_G4_Pin
                           LCD_G1_Pin LCD_G3_Pin LCD_G0_Pin LCD_G2_Pin
                           LCD_R7_Pin LCD_R5_Pin LCD_R6_Pin LCD_R4_Pin
                           LCD_R3_Pin LCD_R1_Pin LCD_R2_Pin */
  GPIO_InitStruct.Pin = LCD_B1_Pin|LCD_B2_Pin|LCD_B3_Pin|LCD_G4_Pin
                          |LCD_G1_Pin|LCD_G3_Pin|LCD_G0_Pin|LCD_G2_Pin
                          |LCD_R7_Pin|LCD_R5_Pin|LCD_R6_Pin|LCD_R4_Pin
                          |LCD_R3_Pin|LCD_R1_Pin|LCD_R2_Pin;
  GPIO_InitStruct.Mode = GPIO_MODE_AF_PP;
  GPIO_InitStruct.Pull = GPIO_NOPULL;
  GPIO_InitStruct.Speed = GPIO_SPEED_FREQ_LOW;
  GPIO_InitStruct.Alternate = GPIO_AF14_LTDC;
  HAL_GPIO_Init(GPIOJ, &GPIO_InitStruct);

  /*Configure GPIO pin : OTG_FS_VBUS_Pin */
  GPIO_InitStruct.Pin = OTG_FS_VBUS_Pin;
  GPIO_InitStruct.Mode = GPIO_MODE_INPUT;
  GPIO_InitStruct.Pull = GPIO_NOPULL;
  HAL_GPIO_Init(OTG_FS_VBUS_GPIO_Port, &GPIO_InitStruct);

  /*Configure GPIO pin : Audio_INT_Pin */
  GPIO_InitStruct.Pin = Audio_INT_Pin;
  GPIO_InitStruct.Mode = GPIO_MODE_EVT_RISING;
  GPIO_InitStruct.Pull = GPIO_NOPULL;
  HAL_GPIO_Init(Audio_INT_GPIO_Port, &GPIO_InitStruct);

  /*Configure GPIO pins : FMC_D2_Pin FMC_D3_Pin FMC_D1_Pin FMC_D15_Pin
                           FMC_D0_Pin FMC_D14_Pin FMC_D13_Pin */
  GPIO_InitStruct.Pin = FMC_D2_Pin|FMC_D3_Pin|FMC_D1_Pin|FMC_D15_Pin
                          |FMC_D0_Pin|FMC_D14_Pin|FMC_D13_Pin;
  GPIO_InitStruct.Mode = GPIO_MODE_AF_PP;
  GPIO_InitStruct.Pull = GPIO_NOPULL;
  GPIO_InitStruct.Speed = GPIO_SPEED_FREQ_VERY_HIGH;
  GPIO_InitStruct.Alternate = GPIO_AF12_FMC;
  HAL_GPIO_Init(GPIOD, &GPIO_InitStruct);

  /*Configure GPIO pins : OTG_FS_P_Pin OTG_FS_N_Pin OTG_FS_ID_Pin */
  GPIO_InitStruct.Pin = OTG_FS_P_Pin|OTG_FS_N_Pin|OTG_FS_ID_Pin;
  GPIO_InitStruct.Mode = GPIO_MODE_AF_PP;
  GPIO_InitStruct.Pull = GPIO_NOPULL;
  GPIO_InitStruct.Speed = GPIO_SPEED_FREQ_VERY_HIGH;
  GPIO_InitStruct.Alternate = GPIO_AF10_OTG_FS;
  HAL_GPIO_Init(GPIOA, &GPIO_InitStruct);

  /*Configure GPIO pins : SAI2_MCLKA_Pin SAI2_SCKA_Pin SAI2_FSA_Pin SAI2_SDA_Pin */
  GPIO_InitStruct.Pin = SAI2_MCLKA_Pin|SAI2_SCKA_Pin|SAI2_FSA_Pin|SAI2_SDA_Pin;
  GPIO_InitStruct.Mode = GPIO_MODE_AF_PP;
  GPIO_InitStruct.Pull = GPIO_NOPULL;
  GPIO_InitStruct.Speed = GPIO_SPEED_FREQ_LOW;
  GPIO_InitStruct.Alternate = GPIO_AF10_SAI2;
  HAL_GPIO_Init(GPIOI, &GPIO_InitStruct);

  /*Configure GPIO pins : LCD_DE_Pin LCD_B7_Pin LCD_B6_Pin LCD_B5_Pin
                           LCD_G6_Pin LCD_G7_Pin LCD_G5_Pin */
  GPIO_InitStruct.Pin = LCD_DE_Pin|LCD_B7_Pin|LCD_B6_Pin|LCD_B5_Pin
                          |LCD_G6_Pin|LCD_G7_Pin|LCD_G5_Pin;
  GPIO_InitStruct.Mode = GPIO_MODE_AF_PP;
  GPIO_InitStruct.Pull = GPIO_NOPULL;
  GPIO_InitStruct.Speed = GPIO_SPEED_FREQ_LOW;
  GPIO_InitStruct.Alternate = GPIO_AF14_LTDC;
  HAL_GPIO_Init(GPIOK, &GPIO_InitStruct);

  /*Configure GPIO pin : LCD_B4_Pin */
  GPIO_InitStruct.Pin = LCD_B4_Pin;
  GPIO_InitStruct.Mode = GPIO_MODE_AF_PP;
  GPIO_InitStruct.Pull = GPIO_NOPULL;
  GPIO_InitStruct.Speed = GPIO_SPEED_FREQ_LOW;
  GPIO_InitStruct.Alternate = GPIO_AF9_LTDC;
  HAL_GPIO_Init(LCD_B4_GPIO_Port, &GPIO_InitStruct);

  /*Configure GPIO pin : SAI2_SDB_Pin */
  GPIO_InitStruct.Pin = SAI2_SDB_Pin;
  GPIO_InitStruct.Mode = GPIO_MODE_AF_PP;
  GPIO_InitStruct.Pull = GPIO_NOPULL;
  GPIO_InitStruct.Speed = GPIO_SPEED_FREQ_LOW;
  GPIO_InitStruct.Alternate = GPIO_AF10_SAI2;
  HAL_GPIO_Init(SAI2_SDB_GPIO_Port, &GPIO_InitStruct);

  /*Configure GPIO pin : OTG_FS_PowerSwitchOn_Pin */
  GPIO_InitStruct.Pin = OTG_FS_PowerSwitchOn_Pin;
  GPIO_InitStruct.Mode = GPIO_MODE_OUTPUT_PP;
  GPIO_InitStruct.Pull = GPIO_NOPULL;
  GPIO_InitStruct.Speed = GPIO_SPEED_FREQ_LOW;
  HAL_GPIO_Init(OTG_FS_PowerSwitchOn_GPIO_Port, &GPIO_InitStruct);

  /*Configure GPIO pin : DCMI_D5_Pin */
  GPIO_InitStruct.Pin = DCMI_D5_Pin;
  GPIO_InitStruct.Mode = GPIO_MODE_AF_PP;
  GPIO_InitStruct.Pull = GPIO_NOPULL;
  GPIO_InitStruct.Speed = GPIO_SPEED_FREQ_LOW;
  GPIO_InitStruct.Alternate = GPIO_AF13_DCMI;
  HAL_GPIO_Init(DCMI_D5_GPIO_Port, &GPIO_InitStruct);

  /*Configure GPIO pins : ARDUINO_D7_Pin ARDUINO_D8_Pin LCD_DISP_Pin */
  GPIO_InitStruct.Pin = ARDUINO_D7_Pin|ARDUINO_D8_Pin|LCD_DISP_Pin;
  GPIO_InitStruct.Mode = GPIO_MODE_OUTPUT_PP;
  GPIO_InitStruct.Pull = GPIO_NOPULL;
  GPIO_InitStruct.Speed = GPIO_SPEED_FREQ_LOW;
  HAL_GPIO_Init(GPIOI, &GPIO_InitStruct);

  /*Configure GPIO pin : uSD_Detect_Pin */
  GPIO_InitStruct.Pin = uSD_Detect_Pin;
  GPIO_InitStruct.Mode = GPIO_MODE_INPUT;
  GPIO_InitStruct.Pull = GPIO_NOPULL;
  HAL_GPIO_Init(uSD_Detect_GPIO_Port, &GPIO_InitStruct);

  /*Configure GPIO pins : FMC_A0_Pin FMC_A1_Pin FMC_A2_Pin FMC_A3_Pin
                           FMC_A4_Pin FMC_A5_Pin FMC_A6_Pin FMC_A9_Pin
                           FMC_A7_Pin FMC_A8_Pin FMC_SDNRAS_Pin */
  GPIO_InitStruct.Pin = FMC_A0_Pin|FMC_A1_Pin|FMC_A2_Pin|FMC_A3_Pin
                          |FMC_A4_Pin|FMC_A5_Pin|FMC_A6_Pin|FMC_A9_Pin
                          |FMC_A7_Pin|FMC_A8_Pin|FMC_SDNRAS_Pin;
  GPIO_InitStruct.Mode = GPIO_MODE_AF_PP;
  GPIO_InitStruct.Pull = GPIO_NOPULL;
  GPIO_InitStruct.Speed = GPIO_SPEED_FREQ_VERY_HIGH;
  GPIO_InitStruct.Alternate = GPIO_AF12_FMC;
  HAL_GPIO_Init(GPIOF, &GPIO_InitStruct);

  /*Configure GPIO pins : LCD_HSYNC_Pin LCD_VSYNC_Pin LCD_R0_Pin LCD_CLK_Pin */
  GPIO_InitStruct.Pin = LCD_HSYNC_Pin|LCD_VSYNC_Pin|LCD_R0_Pin|LCD_CLK_Pin;
  GPIO_InitStruct.Mode = GPIO_MODE_AF_PP;
  GPIO_InitStruct.Pull = GPIO_NOPULL;
  GPIO_InitStruct.Speed = GPIO_SPEED_FREQ_LOW;
  GPIO_InitStruct.Alternate = GPIO_AF14_LTDC;
  HAL_GPIO_Init(GPIOI, &GPIO_InitStruct);

  /*Configure GPIO pin : LCD_BL_CTRL_Pin */
  GPIO_InitStruct.Pin = LCD_BL_CTRL_Pin;
  GPIO_InitStruct.Mode = GPIO_MODE_OUTPUT_PP;
  GPIO_InitStruct.Pull = GPIO_NOPULL;
  GPIO_InitStruct.Speed = GPIO_SPEED_FREQ_LOW;
  HAL_GPIO_Init(LCD_BL_CTRL_GPIO_Port, &GPIO_InitStruct);

  /*Configure GPIO pin : DCMI_VSYNC_Pin */
  GPIO_InitStruct.Pin = DCMI_VSYNC_Pin;
  GPIO_InitStruct.Mode = GPIO_MODE_AF_PP;
  GPIO_InitStruct.Pull = GPIO_NOPULL;
  GPIO_InitStruct.Speed = GPIO_SPEED_FREQ_LOW;
  GPIO_InitStruct.Alternate = GPIO_AF13_DCMI;
  HAL_GPIO_Init(DCMI_VSYNC_GPIO_Port, &GPIO_InitStruct);

  /*Configure GPIO pin : OTG_FS_OverCurrent_Pin */
  GPIO_InitStruct.Pin = OTG_FS_OverCurrent_Pin;
  GPIO_InitStruct.Mode = GPIO_MODE_INPUT;
  GPIO_InitStruct.Pull = GPIO_NOPULL;
  HAL_GPIO_Init(OTG_FS_OverCurrent_GPIO_Port, &GPIO_InitStruct);

  /*Configure GPIO pin : SDMMC_D0_Pin */
  GPIO_InitStruct.Pin = SDMMC_D0_Pin;
  GPIO_InitStruct.Mode = GPIO_MODE_AF_PP;
  GPIO_InitStruct.Pull = GPIO_NOPULL;
  GPIO_InitStruct.Speed = GPIO_SPEED_FREQ_VERY_HIGH;
  GPIO_InitStruct.Alternate = GPIO_AF12_SDMMC1;
  HAL_GPIO_Init(SDMMC_D0_GPIO_Port, &GPIO_InitStruct);

  /*Configure GPIO pins : TP3_Pin NC2_Pin */
  GPIO_InitStruct.Pin = TP3_Pin|NC2_Pin;
  GPIO_InitStruct.Mode = GPIO_MODE_INPUT;
  GPIO_InitStruct.Pull = GPIO_NOPULL;
  HAL_GPIO_Init(GPIOH, &GPIO_InitStruct);

  /*Configure GPIO pin : ARDUINO_SCK_D13_Pin */
  GPIO_InitStruct.Pin = ARDUINO_SCK_D13_Pin;
  GPIO_InitStruct.Mode = GPIO_MODE_AF_PP;
  GPIO_InitStruct.Pull = GPIO_NOPULL;
  GPIO_InitStruct.Speed = GPIO_SPEED_FREQ_LOW;
  GPIO_InitStruct.Alternate = GPIO_AF5_SPI2;
  HAL_GPIO_Init(ARDUINO_SCK_D13_GPIO_Port, &GPIO_InitStruct);

  /*Configure GPIO pin : DCMI_PWR_EN_Pin */
  GPIO_InitStruct.Pin = DCMI_PWR_EN_Pin;
  GPIO_InitStruct.Mode = GPIO_MODE_OUTPUT_PP;
  GPIO_InitStruct.Pull = GPIO_NOPULL;
  GPIO_InitStruct.Speed = GPIO_SPEED_FREQ_LOW;
  HAL_GPIO_Init(DCMI_PWR_EN_GPIO_Port, &GPIO_InitStruct);

  /*Configure GPIO pins : DCMI_D4_Pin DCMI_D3_Pin DCMI_D0_Pin DCMI_D2_Pin
                           DCMI_D1_Pin */
  GPIO_InitStruct.Pin = DCMI_D4_Pin|DCMI_D3_Pin|DCMI_D0_Pin|DCMI_D2_Pin
                          |DCMI_D1_Pin;
  GPIO_InitStruct.Mode = GPIO_MODE_AF_PP;
  GPIO_InitStruct.Pull = GPIO_NOPULL;
  GPIO_InitStruct.Speed = GPIO_SPEED_FREQ_LOW;
  GPIO_InitStruct.Alternate = GPIO_AF13_DCMI;
  HAL_GPIO_Init(GPIOH, &GPIO_InitStruct);

  /*Configure GPIO pin : ARDUINO_PWM_CS_D5_Pin */
  GPIO_InitStruct.Pin = ARDUINO_PWM_CS_D5_Pin;
  GPIO_InitStruct.Mode = GPIO_MODE_AF_PP;
  GPIO_InitStruct.Pull = GPIO_NOPULL;
  GPIO_InitStruct.Speed = GPIO_SPEED_FREQ_LOW;
  GPIO_InitStruct.Alternate = GPIO_AF2_TIM5;
  HAL_GPIO_Init(ARDUINO_PWM_CS_D5_GPIO_Port, &GPIO_InitStruct);

  /*Configure GPIO pin : ARDUINO_PWM_D10_Pin */
  GPIO_InitStruct.Pin = ARDUINO_PWM_D10_Pin;
  GPIO_InitStruct.Mode = GPIO_MODE_AF_PP;
  GPIO_InitStruct.Pull = GPIO_NOPULL;
  GPIO_InitStruct.Speed = GPIO_SPEED_FREQ_LOW;
  GPIO_InitStruct.Alternate = GPIO_AF1_TIM1;
  HAL_GPIO_Init(ARDUINO_PWM_D10_GPIO_Port, &GPIO_InitStruct);

  /*Configure GPIO pin : LCD_INT_Pin */
  GPIO_InitStruct.Pin = LCD_INT_Pin;
  GPIO_InitStruct.Mode = GPIO_MODE_EVT_RISING;
  GPIO_InitStruct.Pull = GPIO_NOPULL;
  HAL_GPIO_Init(LCD_INT_GPIO_Port, &GPIO_InitStruct);

  /*Configure GPIO pins : ARDUINO_RX_D0_Pin ARDUINO_TX_D1_Pin */
  GPIO_InitStruct.Pin = ARDUINO_RX_D0_Pin|ARDUINO_TX_D1_Pin;
  GPIO_InitStruct.Mode = GPIO_MODE_AF_PP;
  GPIO_InitStruct.Pull = GPIO_NOPULL;
  GPIO_InitStruct.Speed = GPIO_SPEED_FREQ_VERY_HIGH;
  GPIO_InitStruct.Alternate = GPIO_AF8_USART6;
  HAL_GPIO_Init(GPIOC, &GPIO_InitStruct);

  /*Configure GPIO pin : ULPI_NXT_Pin */
  GPIO_InitStruct.Pin = ULPI_NXT_Pin;
  GPIO_InitStruct.Mode = GPIO_MODE_AF_PP;
  GPIO_InitStruct.Pull = GPIO_NOPULL;
  GPIO_InitStruct.Speed = GPIO_SPEED_FREQ_VERY_HIGH;
  GPIO_InitStruct.Alternate = GPIO_AF10_OTG_HS;
  HAL_GPIO_Init(ULPI_NXT_GPIO_Port, &GPIO_InitStruct);

  /*Configure GPIO pins : FMC_SDNME_Pin FMC_SDNE0_Pin */
  GPIO_InitStruct.Pin = FMC_SDNME_Pin|FMC_SDNE0_Pin;
  GPIO_InitStruct.Mode = GPIO_MODE_AF_PP;
  GPIO_InitStruct.Pull = GPIO_NOPULL;
  GPIO_InitStruct.Speed = GPIO_SPEED_FREQ_VERY_HIGH;
  GPIO_InitStruct.Alternate = GPIO_AF12_FMC;
  HAL_GPIO_Init(GPIOH, &GPIO_InitStruct);

  /*Configure GPIO pins : ARDUINO_D4_Pin ARDUINO_D2_Pin EXT_RST_Pin */
  GPIO_InitStruct.Pin = ARDUINO_D4_Pin|ARDUINO_D2_Pin|EXT_RST_Pin;
  GPIO_InitStruct.Mode = GPIO_MODE_OUTPUT_PP;
  GPIO_InitStruct.Pull = GPIO_NOPULL;
  GPIO_InitStruct.Speed = GPIO_SPEED_FREQ_LOW;
  HAL_GPIO_Init(GPIOG, &GPIO_InitStruct);

  /*Configure GPIO pins : ARDUINO_A4_Pin ARDUINO_A5_Pin ARDUINO_A1_Pin ARDUINO_A2_Pin
                           ARDUINO_A3_Pin */
  GPIO_InitStruct.Pin = ARDUINO_A4_Pin|ARDUINO_A5_Pin|ARDUINO_A1_Pin|ARDUINO_A2_Pin
                          |ARDUINO_A3_Pin;
  GPIO_InitStruct.Mode = GPIO_MODE_ANALOG;
  GPIO_InitStruct.Pull = GPIO_NOPULL;
  HAL_GPIO_Init(GPIOF, &GPIO_InitStruct);

  /*Configure GPIO pin : FMC_SDCKE0_Pin */
  GPIO_InitStruct.Pin = FMC_SDCKE0_Pin;
  GPIO_InitStruct.Mode = GPIO_MODE_AF_PP;
  GPIO_InitStruct.Pull = GPIO_NOPULL;
  GPIO_InitStruct.Speed = GPIO_SPEED_FREQ_VERY_HIGH;
  GPIO_InitStruct.Alternate = GPIO_AF12_FMC;
  HAL_GPIO_Init(FMC_SDCKE0_GPIO_Port, &GPIO_InitStruct);

  /*Configure GPIO pins : ULPI_STP_Pin ULPI_DIR_Pin */
  GPIO_InitStruct.Pin = ULPI_STP_Pin|ULPI_DIR_Pin;
  GPIO_InitStruct.Mode = GPIO_MODE_AF_PP;
  GPIO_InitStruct.Pull = GPIO_NOPULL;
  GPIO_InitStruct.Speed = GPIO_SPEED_FREQ_VERY_HIGH;
  GPIO_InitStruct.Alternate = GPIO_AF10_OTG_HS;
  HAL_GPIO_Init(GPIOC, &GPIO_InitStruct);

  /*Configure GPIO pins : RMII_MDC_Pin RMII_RXD0_Pin RMII_RXD1_Pin */
  GPIO_InitStruct.Pin = RMII_MDC_Pin|RMII_RXD0_Pin|RMII_RXD1_Pin;
  GPIO_InitStruct.Mode = GPIO_MODE_AF_PP;
  GPIO_InitStruct.Pull = GPIO_NOPULL;
  GPIO_InitStruct.Speed = GPIO_SPEED_FREQ_VERY_HIGH;
  GPIO_InitStruct.Alternate = GPIO_AF11_ETH;
  HAL_GPIO_Init(GPIOC, &GPIO_InitStruct);

  /*Configure GPIO pin : PB2 */
  GPIO_InitStruct.Pin = GPIO_PIN_2;
  GPIO_InitStruct.Mode = GPIO_MODE_AF_PP;
  GPIO_InitStruct.Pull = GPIO_NOPULL;
  GPIO_InitStruct.Speed = GPIO_SPEED_FREQ_VERY_HIGH;
  GPIO_InitStruct.Alternate = GPIO_AF9_QUADSPI;
  HAL_GPIO_Init(GPIOB, &GPIO_InitStruct);

  /*Configure GPIO pins : QSPI_D1_Pin QSPI_D3_Pin QSPI_D0_Pin */
  GPIO_InitStruct.Pin = QSPI_D1_Pin|QSPI_D3_Pin|QSPI_D0_Pin;
  GPIO_InitStruct.Mode = GPIO_MODE_AF_PP;
  GPIO_InitStruct.Pull = GPIO_NOPULL;
  GPIO_InitStruct.Speed = GPIO_SPEED_FREQ_VERY_HIGH;
  GPIO_InitStruct.Alternate = GPIO_AF9_QUADSPI;
  HAL_GPIO_Init(GPIOD, &GPIO_InitStruct);

  /*Configure GPIO pin : RMII_RXER_Pin */
  GPIO_InitStruct.Pin = RMII_RXER_Pin;
  GPIO_InitStruct.Mode = GPIO_MODE_INPUT;
  GPIO_InitStruct.Pull = GPIO_NOPULL;
  HAL_GPIO_Init(RMII_RXER_GPIO_Port, &GPIO_InitStruct);

  /*Configure GPIO pins : RMII_REF_CLK_Pin RMII_MDIO_Pin RMII_CRS_DV_Pin */
  GPIO_InitStruct.Pin = RMII_REF_CLK_Pin|RMII_MDIO_Pin|RMII_CRS_DV_Pin;
  GPIO_InitStruct.Mode = GPIO_MODE_AF_PP;
  GPIO_InitStruct.Pull = GPIO_NOPULL;
  GPIO_InitStruct.Speed = GPIO_SPEED_FREQ_VERY_HIGH;
  GPIO_InitStruct.Alternate = GPIO_AF11_ETH;
  HAL_GPIO_Init(GPIOA, &GPIO_InitStruct);

  /*Configure GPIO pin : ARDUINO_A0_Pin */
  GPIO_InitStruct.Pin = ARDUINO_A0_Pin;
  GPIO_InitStruct.Mode = GPIO_MODE_ANALOG;
  GPIO_InitStruct.Pull = GPIO_NOPULL;
  HAL_GPIO_Init(ARDUINO_A0_GPIO_Port, &GPIO_InitStruct);

  /*Configure GPIO pins : DCMI_HSYNC_Pin PA6 */
  GPIO_InitStruct.Pin = DCMI_HSYNC_Pin|GPIO_PIN_6;
  GPIO_InitStruct.Mode = GPIO_MODE_AF_PP;
  GPIO_InitStruct.Pull = GPIO_NOPULL;
  GPIO_InitStruct.Speed = GPIO_SPEED_FREQ_LOW;
  GPIO_InitStruct.Alternate = GPIO_AF13_DCMI;
  HAL_GPIO_Init(GPIOA, &GPIO_InitStruct);

  /*Configure GPIO pins : LCD_SCL_Pin LCD_SDA_Pin */
  GPIO_InitStruct.Pin = LCD_SCL_Pin|LCD_SDA_Pin;
  GPIO_InitStruct.Mode = GPIO_MODE_AF_OD;
  GPIO_InitStruct.Pull = GPIO_NOPULL;
  GPIO_InitStruct.Speed = GPIO_SPEED_FREQ_VERY_HIGH;
  GPIO_InitStruct.Alternate = GPIO_AF4_I2C3;
  HAL_GPIO_Init(GPIOH, &GPIO_InitStruct);

  /*Configure GPIO pins : ULPI_CLK_Pin ULPI_D0_Pin */
  GPIO_InitStruct.Pin = ULPI_CLK_Pin|ULPI_D0_Pin;
  GPIO_InitStruct.Mode = GPIO_MODE_AF_PP;
  GPIO_InitStruct.Pull = GPIO_NOPULL;
  GPIO_InitStruct.Speed = GPIO_SPEED_FREQ_VERY_HIGH;
  GPIO_InitStruct.Alternate = GPIO_AF10_OTG_HS;
  HAL_GPIO_Init(GPIOA, &GPIO_InitStruct);

  /*Configure GPIO pin : ARDUINO_PWM_D6_Pin */
  GPIO_InitStruct.Pin = ARDUINO_PWM_D6_Pin;
  GPIO_InitStruct.Mode = GPIO_MODE_AF_PP;
  GPIO_InitStruct.Pull = GPIO_NOPULL;
  GPIO_InitStruct.Speed = GPIO_SPEED_FREQ_LOW;
  GPIO_InitStruct.Alternate = GPIO_AF9_TIM12;
  HAL_GPIO_Init(ARDUINO_PWM_D6_GPIO_Port, &GPIO_InitStruct);

  /*Configure GPIO pins : ARDUINO_MISO_D12_Pin ARDUINO_MOSI_PWM_D11_Pin */
  GPIO_InitStruct.Pin = ARDUINO_MISO_D12_Pin|ARDUINO_MOSI_PWM_D11_Pin;
  GPIO_InitStruct.Mode = GPIO_MODE_AF_PP;
  GPIO_InitStruct.Pull = GPIO_NOPULL;
  GPIO_InitStruct.Speed = GPIO_SPEED_FREQ_LOW;
  GPIO_InitStruct.Alternate = GPIO_AF5_SPI2;
  HAL_GPIO_Init(GPIOB, &GPIO_InitStruct);

}

void Error_Handler(void)
{
  __disable_irq();
  while (1)
  {
  }
}
